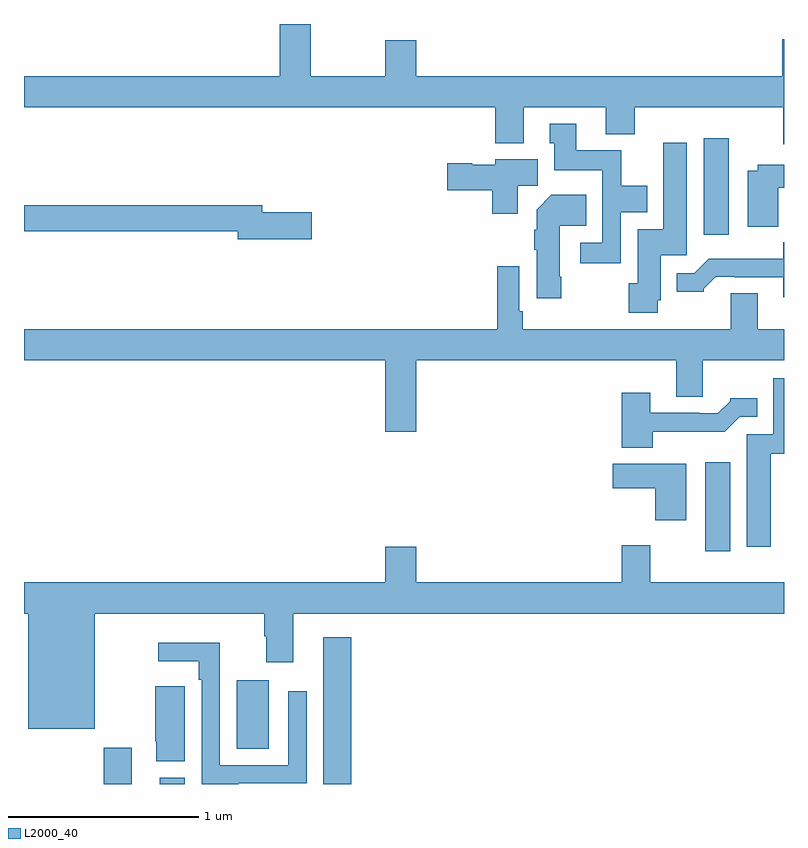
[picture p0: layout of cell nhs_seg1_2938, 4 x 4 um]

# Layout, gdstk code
import gdstk
lib = gdstk.Library(unit=1e-6, precision=1e-09)
def R(c, l, rs):  # rectangles x0, y0, x1, y1
    for r in rs: c.add(gdstk.rectangle(r[:2], r[2:], *l))
def P(c, l, *ps):  # polygons
    for p in ps: c.add(gdstk.Polygon(p, *l))
L2000_40 = (2000, 40)

nhs_seg1_2938 = lib.new_cell('nhs_seg1_2938')
R(nhs_seg1_2938, L2000_40, [(271.42,520.199,271.567,520.39), (271.715,520.199,271.846,520.233), (272.576,520.199,272.723,520.972), (272.12,520.384,272.287,520.746), (274.586,521.424,274.717,521.893), (274.577,523.089,274.708,523.597)])
P(nhs_seg1_2938, L2000_40, [(275,524.119),(274.991,524.119),(274.991,523.924),(273.064,523.924),(273.064,524.113),(272.9,524.113),(272.9,523.924),(272.509,523.924),(272.509,524.199),(272.345,524.199),(272.345,523.924),(271,523.924),(271,523.76),(273.479,523.76),(273.479,523.571),(273.631,523.571),(273.631,523.76),(274.061,523.76),(274.061,523.619),(274.214,523.619),(274.214,523.76),(274.997,523.76),(274.997,523.566),(275,523.566)],
  [(274.14,523.208),(274.279,523.208),(274.279,523.348),(274.143,523.348),(274.143,523.534),(273.907,523.534),(273.907,523.675),(273.767,523.675),(273.767,523.572),(273.791,523.572),(273.791,523.43),(274.044,523.43),(274.044,523.047),(273.927,523.047),(273.927,522.939),(274.14,522.939)],
  [(274.335,522.744),(274.351,522.744),(274.351,522.981),(274.489,522.981),(274.489,523.573),(274.364,523.573),(274.364,523.12),(274.229,523.12),(274.229,522.834),(274.183,522.834),(274.183,522.678),(274.335,522.678)],
  [(273.598,523.348),(273.703,523.348),(273.703,523.486),(273.48,523.486),(273.48,523.459),(273.36,523.459),(273.36,523.467),(273.228,523.467),(273.228,523.325),(273.464,523.325),(273.464,523.2),(273.598,523.2)],
  [(274.97,523.337),(275,523.337),(275,523.459),(274.863,523.459),(274.863,523.426),(274.808,523.426),(274.808,523.133),(274.97,523.133)],
  [(273.828,522.868),(273.82,522.868),(273.82,523.136),(273.959,523.136),(273.959,523.3),(273.776,523.3),(273.698,523.222),(273.698,523.115),(273.686,523.115),(273.686,523.012),(273.698,523.012),(273.698,522.756),(273.828,522.756)],
  [(272.515,523.208),(272.254,523.208),(272.254,523.244),(271,523.244),(271,523.108),(272.126,523.108),(272.126,523.066),(272.515,523.066)],
  [(275,523.051),(274.995,523.051),(274.995,522.964),(274.603,522.964),(274.527,522.888),(274.436,522.888),(274.436,522.791),(274.578,522.791),(274.578,522.806),(274.642,522.87),(274.741,522.87),(274.741,522.867),(274.997,522.867),(274.997,522.762),(275,522.762)],
  [(273.064,522.428),(274.433,522.428),(274.433,522.238),(274.573,522.238),(274.573,522.428),(275,522.428),(275,522.592),(274.861,522.592),(274.861,522.782),(274.721,522.782),(274.721,522.592),(273.626,522.592),(273.626,522.688),(273.606,522.688),(273.606,522.925),(273.49,522.925),(273.49,522.592),(271,522.592),(271,522.428),(272.9,522.428),(272.9,522.054),(273.064,522.054)],
  [(274.93,521.936),(275,521.936),(275,522.334),(274.943,522.334),(274.943,522.039),(274.805,522.039),(274.805,521.448),(274.93,521.448)],
  [(274.31,522.054),(274.689,522.054),(274.767,522.132),(274.858,522.132),(274.858,522.229),(274.716,522.229),(274.716,522.214),(274.652,522.15),(274.553,522.15),(274.553,522.153),(274.297,522.153),(274.297,522.259),(274.145,522.259),(274.145,521.969),(274.31,521.969)],
  [(274.486,521.884),(274.098,521.884),(274.098,521.755),(274.322,521.755),(274.322,521.586),(274.486,521.586)],
  [(271.372,521.096),(272.264,521.096),(272.264,520.976),(272.276,520.976),(272.276,520.839),(272.416,520.839),(272.416,521.096),(275,521.096),(275,521.26),(274.297,521.26),(274.297,521.455),(274.145,521.455),(274.145,521.26),(273.064,521.26),(273.064,521.449),(272.9,521.449),(272.9,521.26),(271,521.26),(271,521.096),(271.022,521.096),(271.022,520.49),(271.372,520.49)],
  [(272.131,520.203),(272.487,520.203),(272.487,520.687),(272.391,520.687),(272.391,520.299),(272.031,520.299),(272.031,520.942),(271.707,520.942),(271.707,520.844),(271.919,520.844),(271.919,520.748),(271.935,520.748),(271.935,520.199),(272.131,520.199)],
  [(271.846,520.601),(271.845,520.601),(271.845,520.714),(271.69,520.714),(271.69,520.423),(271.697,520.423),(271.697,520.318),(271.846,520.318)])

lib.write_gds('nhs_seg1_2938.gds')
